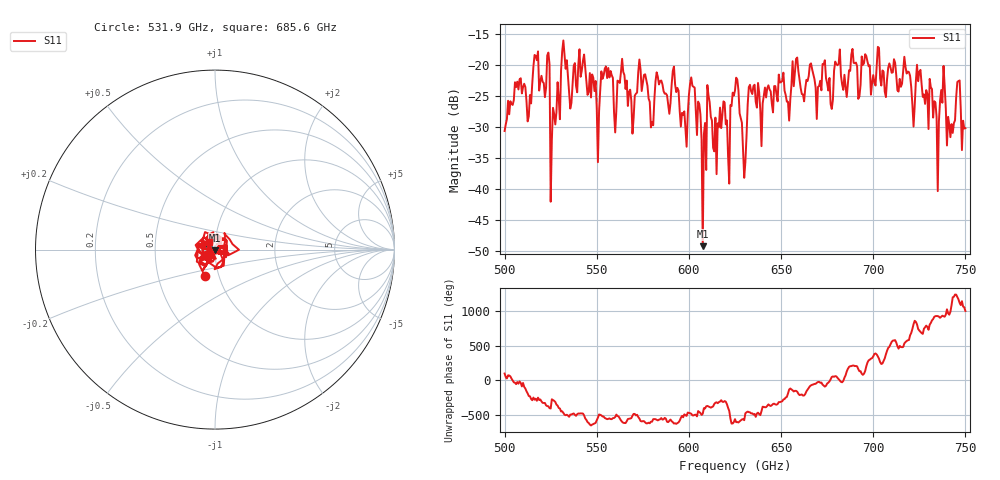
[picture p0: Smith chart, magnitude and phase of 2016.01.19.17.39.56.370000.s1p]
!Created with skrf (http://scikit-rf.org).
# GHz S RI R 50.0
!freq ReS11 ImS11
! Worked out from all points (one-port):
!   401 points, 500 GHz to 750 GHz, reference 50 ohm
!   lowest |S11| = -49.2 dB at 607.5 GHz (marker M1), VSWR 1.01, Z = 49.8 - j0.288 ohm
!   |S11| at or under -10 dB: start of sweep to end of sweep
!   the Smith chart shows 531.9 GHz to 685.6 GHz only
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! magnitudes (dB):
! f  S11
! 500 GHz  -30.6
! 506.9 GHz  -22.7
! 513.1 GHz  -28.3
! 516.9 GHz  -18.5
! 523.1 GHz  -18.4
! 526.2 GHz  -26.9
! 531.2 GHz  -17.7
! 541.9 GHz  -20.9
! 550 GHz  -27.1
! 562.5 GHz  -22.9
! 579.4 GHz  -30.1
! 583.1 GHz  -21.9
! 593.8 GHz  -23.7
! 598.1 GHz  -30.4
! 601.9 GHz  -23.3
! 607.5 GHz  -49.2
! 611.2 GHz  -26.0
! 613.8 GHz  -33.9
! 621.2 GHz  -34.8
! 625 GHz  -24.1
! 630 GHz  -38.2
! 633.8 GHz  -24.2
! 656.2 GHz  -19.4
! 687.5 GHz  -20.9
! 718.8 GHz  -21.0
! 734.4 GHz  -28.4
! 746.2 GHz  -22.6
! 750 GHz  -30.2
